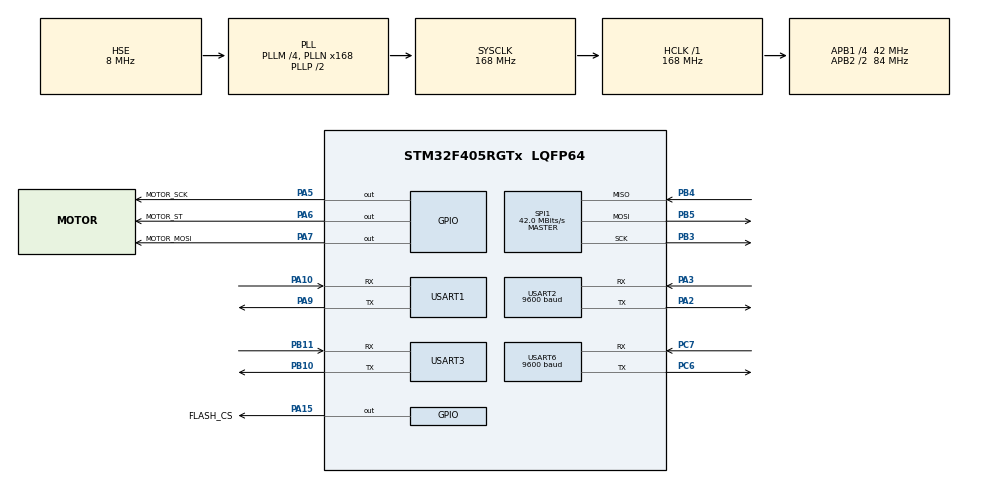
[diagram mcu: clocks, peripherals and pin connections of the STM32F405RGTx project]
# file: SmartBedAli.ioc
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Dma.Request0=USART6_RX
Dma.Request1=USART6_TX
Dma.Request2=USART2_RX
Dma.Request3=USART2_TX
Dma.USART2_RX.2.Direction=DMA_PERIPH_TO_MEMORY
Dma.USART2_RX.2.FIFOMode=DMA_FIFOMODE_DISABLE
Dma.USART2_RX.2.Instance=DMA1_Stream5
Dma.USART2_RX.2.MemDataAlignment=DMA_MDATAALIGN_BYTE
Dma.USART2_RX.2.MemInc=DMA_MINC_ENABLE
Dma.USART2_RX.2.Mode=DMA_CIRCULAR
Dma.USART2_RX.2.PeriphDataAlignment=DMA_PDATAALIGN_BYTE
Dma.USART2_RX.2.PeriphInc=DMA_PINC_DISABLE
Dma.USART2_RX.2.Priority=DMA_PRIORITY_LOW
Dma.USART2_TX.3.Direction=DMA_MEMORY_TO_PERIPH
Dma.USART2_TX.3.FIFOMode=DMA_FIFOMODE_DISABLE
Dma.USART2_TX.3.Instance=DMA1_Stream6
Dma.USART2_TX.3.MemDataAlignment=DMA_MDATAALIGN_BYTE
Dma.USART2_TX.3.MemInc=DMA_MINC_ENABLE
Dma.USART2_TX.3.Mode=DMA_NORMAL
Dma.USART2_TX.3.PeriphDataAlignment=DMA_PDATAALIGN_BYTE
Dma.USART2_TX.3.PeriphInc=DMA_PINC_DISABLE
Dma.USART2_TX.3.Priority=DMA_PRIORITY_LOW
Dma.USART6_RX.0.Direction=DMA_PERIPH_TO_MEMORY
Dma.USART6_RX.0.FIFOMode=DMA_FIFOMODE_DISABLE
Dma.USART6_RX.0.Instance=DMA2_Stream1
Dma.USART6_RX.0.MemDataAlignment=DMA_MDATAALIGN_BYTE
Dma.USART6_RX.0.MemInc=DMA_MINC_ENABLE
Dma.USART6_RX.0.Mode=DMA_CIRCULAR
Dma.USART6_RX.0.PeriphDataAlignment=DMA_PDATAALIGN_BYTE
Dma.USART6_RX.0.PeriphInc=DMA_PINC_DISABLE
Dma.USART6_RX.0.Priority=DMA_PRIORITY_LOW
Dma.USART6_TX.1.Direction=DMA_MEMORY_TO_PERIPH
Dma.USART6_TX.1.FIFOMode=DMA_FIFOMODE_DISABLE
Dma.USART6_TX.1.Instance=DMA2_Stream6
Dma.USART6_TX.1.MemDataAlignment=DMA_MDATAALIGN_BYTE
Dma.USART6_TX.1.MemInc=DMA_MINC_ENABLE
Dma.USART6_TX.1.Mode=DMA_NORMAL
Dma.USART6_TX.1.PeriphDataAlignment=DMA_PDATAALIGN_BYTE
Dma.USART6_TX.1.PeriphInc=DMA_PINC_DISABLE
Dma.USART6_TX.1.Priority=DMA_PRIORITY_LOW
FREERTOS.INCLUDE_eTaskGetState=1
FREERTOS.INCLUDE_pcTaskGetTaskName=1
FREERTOS.INCLUDE_uxTaskGetStackHighWaterMark=1
FREERTOS.INCLUDE_vTaskCleanUpResources=1
FREERTOS.INCLUDE_vTaskDelayUntil=1
FREERTOS.INCLUDE_xQueueGetMutexHolder=1
FREERTOS.INCLUDE_xSemaphoreGetMutexHolder=1
FREERTOS.INCLUDE_xTaskAbortDelay=1
FREERTOS.INCLUDE_xTaskGetCurrentTaskHandle=1
FREERTOS.INCLUDE_xTaskGetHandle=1
FREERTOS.MEMORY_ALLOCATION=0
FREERTOS.Tasks01=reportTask,2,1024,StartReportTask,Default,NULL,Dynamic,NULL,NULL;bedTask,2,1024,StartBedTask,Default,NULL,Dynamic,NULL,NULL
FREERTOS.configUSE_COUNTING_SEMAPHORES=1
Mcu.Family=STM32F4
Mcu.Name=STM32F405RGTx
Mcu.Package=LQFP64
NVIC.DMA1_Stream5_IRQn=true\:5\:0\:false\:false\:true\:true\:false\:true
NVIC.DMA1_Stream6_IRQn=true\:5\:0\:false\:false\:true\:true\:false\:true
NVIC.DMA2_Stream1_IRQn=true\:5\:0\:true\:false\:true\:true\:false\:true
NVIC.DMA2_Stream6_IRQn=true\:5\:0\:true\:false\:true\:true\:false\:true
NVIC.PriorityGroup=NVIC_PRIORITYGROUP_4
NVIC.TIM1_UP_TIM10_IRQn=true\:0\:0\:false\:false\:true\:false\:false\:true
NVIC.TimeBase=TIM1_UP_TIM10_IRQn
NVIC.TimeBaseIP=TIM1
NVIC.USART6_IRQn=true\:5\:0\:true\:false\:true\:true\:true\:true
PA10.Mode=Asynchronous
PA10.Signal=USART1_RX
PA13.Mode=Serial_Wire
PA13.Signal=SYS_JTMS-SWDIO
PA14.Mode=Serial_Wire
PA14.Signal=SYS_JTCK-SWCLK
PA15.GPIO_Label=FLASH_CS
PA15.Signal=GPIO_Output
PA2.Mode=Asynchronous
PA2.Signal=USART2_TX
PA3.Mode=Asynchronous
PA3.Signal=USART2_RX
PA5.GPIO_Label=MOTOR_SCK
PA5.GPIO_Speed=GPIO_SPEED_FREQ_MEDIUM
PA5.Signal=GPIO_Output
PA6.GPIO_Label=MOTOR_ST
PA6.Signal=GPIO_Output
PA7.GPIO_Label=MOTOR_MOSI
PA7.GPIO_Speed=GPIO_SPEED_FREQ_MEDIUM
PA7.Signal=GPIO_Output
PA9.Mode=Asynchronous
PA9.Signal=USART1_TX
PB10.Mode=Asynchronous
PB10.Signal=USART3_TX
PB11.Mode=Asynchronous
PB11.Signal=USART3_RX
PB3.Mode=Full_Duplex_Master
PB3.Signal=SPI1_SCK
PB4.Mode=Full_Duplex_Master
PB4.Signal=SPI1_MISO
PB5.Mode=Full_Duplex_Master
PB5.Signal=SPI1_MOSI
PC14-OSC32_IN.Mode=LSE-External-Oscillator
PC14-OSC32_IN.Signal=RCC_OSC32_IN
PC15-OSC32_OUT.Mode=LSE-External-Oscillator
PC15-OSC32_OUT.Signal=RCC_OSC32_OUT
PC6.GPIO_Speed=GPIO_SPEED_FREQ_VERY_HIGH
PC6.Mode=Asynchronous
PC6.Signal=USART6_TX
PC7.GPIO_Speed=GPIO_SPEED_FREQ_VERY_HIGH
PC7.Mode=Asynchronous
PC7.Signal=USART6_RX
PH0-OSC_IN.Mode=HSE-External-Oscillator
PH0-OSC_IN.Signal=RCC_OSC_IN
PH1-OSC_OUT.Mode=HSE-External-Oscillator
PH1-OSC_OUT.Signal=RCC_OSC_OUT
ProjectManager.HeapSize=0x800
ProjectManager.StackSize=0x1000
ProjectManager.TargetToolchain=MDK-ARM V5
RCC.48MHZClocksFreq_Value=84000000
RCC.AHBFreq_Value=168000000
RCC.APB1CLKDivider=RCC_HCLK_DIV4
RCC.APB1Freq_Value=42000000
RCC.APB1TimFreq_Value=84000000
RCC.APB2CLKDivider=RCC_HCLK_DIV2
RCC.APB2Freq_Value=84000000
RCC.APB2TimFreq_Value=168000000
RCC.CortexFreq_Value=168000000
RCC.HCLKFreq_Value=168000000
RCC.HSE_VALUE=8000000
RCC.HSI_VALUE=16000000
RCC.PLLM=4
RCC.PLLN=168
RCC.PLLSourceVirtual=RCC_PLLSOURCE_HSE
RCC.SYSCLKFreq_VALUE=168000000
RCC.SYSCLKSource=RCC_SYSCLKSOURCE_PLLCLK
RCC.VCOOutputFreq_Value=336000000
SPI1.CalculateBaudRate=42.0 MBits/s
SPI1.Direction=SPI_DIRECTION_2LINES
SPI1.Mode=SPI_MODE_MASTER
SPI1.VirtualType=VM_MASTER
USART1.VirtualMode=VM_ASYNC
USART2.BaudRate=9600
USART2.VirtualMode=VM_ASYNC
USART3.VirtualMode=VM_ASYNC
USART6.BaudRate=9600
USART6.VirtualMode=VM_ASYNC
VP_FREERTOS_VS_CMSIS_V1.Mode=CMSIS_V1
VP_SYS_VS_tim1.Mode=TIM1
board=custom

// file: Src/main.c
/* USER CODE BEGIN Header */
/**
  ******************************************************************************
  * @file           : main.c
  * @brief          : Main program body
  ******************************************************************************
  * @attention
  *
  * <h2><center>&copy; Copyright (c) 2019 STMicroelectronics.
  * All rights reserved.</center></h2>
  *
  * This software component is licensed by ST under Ultimate Liberty license
  * SLA0044, the "License"; You may not use this file except in compliance with
  * the License. You may obtain a copy of the License at:
  *                             www.st.com/SLA0044
  *
  ******************************************************************************
  */
/* USER CODE END Header */

#include "main.h"
#include "cmsis_os.h"
#include "dma.h"
#include "spi.h"
#include "usart.h"
#include "gpio.h"

/* USER CODE BEGIN Includes */
#include <string.h>
#include <jansson.h>
#include "at_api.h"
#include "smartbed.h"
#include "emw3080.h"
#include "ble.h"
#include "w25qxx.h"
#include "ld3320.h"
/* USER CODE END Includes */

void SystemClock_Config(void);
void MX_FREERTOS_Init(void);

int main(void)
{

  /* MCU Configuration--------------------------------------------------------*/

  /* Reset of all peripherals, Initializes the Flash interface and the Systick. */
  HAL_Init();

  /* Configure the system clock */
  SystemClock_Config();

  /* Initialize all configured peripherals */
  MX_GPIO_Init();
  MX_DMA_Init();
  MX_USART3_UART_Init();
  MX_USART6_UART_Init();
  MX_SPI1_Init();
  MX_USART1_UART_Init();
  MX_USART2_UART_Init();
  /* USER CODE BEGIN 2 */
	W25qxx_Init();
	smartbed_init();
	ble_init();
	ld3320_init();
	IOT_ATM_Init();
	emw3080_init();
  /* USER CODE END 2 */

  /* Call init function for freertos objects (in freertos.c) */
  MX_FREERTOS_Init();
  /* Start scheduler */
  osKernelStart();

  /* We should never get here as control is now taken by the scheduler */
  /* Infinite loop */
  while (1)
  {

    /* USER CODE BEGIN 3 */
		HAL_Delay(1000);
  }
  /* USER CODE END 3 */
}

void SystemClock_Config(void)
{
  RCC_OscInitTypeDef RCC_OscInitStruct = {0};
  RCC_ClkInitTypeDef RCC_ClkInitStruct = {0};

  /** Configure the main internal regulator output voltage
  */
  __HAL_RCC_PWR_CLK_ENABLE();
  __HAL_PWR_VOLTAGESCALING_CONFIG(PWR_REGULATOR_VOLTAGE_SCALE1);
  /** Initializes the CPU, AHB and APB busses clocks
  */
  RCC_OscInitStruct.OscillatorType = RCC_OSCILLATORTYPE_HSE;
  RCC_OscInitStruct.HSEState = RCC_HSE_ON;
  RCC_OscInitStruct.PLL.PLLState = RCC_PLL_ON;
  RCC_OscInitStruct.PLL.PLLSource = RCC_PLLSOURCE_HSE;
  RCC_OscInitStruct.PLL.PLLM = 4;
  RCC_OscInitStruct.PLL.PLLN = 168;
  RCC_OscInitStruct.PLL.PLLP = RCC_PLLP_DIV2;
  RCC_OscInitStruct.PLL.PLLQ = 4;
  if (HAL_RCC_OscConfig(&RCC_OscInitStruct) != HAL_OK)
  {
    Error_Handler();
  }
  /** Initializes the CPU, AHB and APB busses clocks
  */
  RCC_ClkInitStruct.ClockType = RCC_CLOCKTYPE_HCLK|RCC_CLOCKTYPE_SYSCLK
                              |RCC_CLOCKTYPE_PCLK1|RCC_CLOCKTYPE_PCLK2;
  RCC_ClkInitStruct.SYSCLKSource = RCC_SYSCLKSOURCE_PLLCLK;
  RCC_ClkInitStruct.AHBCLKDivider = RCC_SYSCLK_DIV1;
  RCC_ClkInitStruct.APB1CLKDivider = RCC_HCLK_DIV4;
  RCC_ClkInitStruct.APB2CLKDivider = RCC_HCLK_DIV2;

  if (HAL_RCC_ClockConfig(&RCC_ClkInitStruct, FLASH_LATENCY_5) != HAL_OK)
  {
    Error_Handler();
  }
}

/* USER CODE BEGIN 4 */
void HAL_UART_RxCpltCallback(UART_HandleTypeDef *huart)
{
	if(huart == &huart6 && huart6.gState == HAL_UART_STATE_READY)
	{
		ble_receive_dma_callback();
	}

	if(huart == &huart2 && huart2.gState == HAL_UART_STATE_READY)
	{
		ld3320_receive_dma_callback();
	}
}
/* USER CODE END 4 */

 /**
  * @brief  Period elapsed callback in non blocking mode
  * @note   This function is called  when TIM1 interrupt took place, inside
  * HAL_TIM_IRQHandler(). It makes a direct call to HAL_IncTick() to increment
  * a global variable "uwTick" used as application time base.
  * @param  htim : TIM handle
  * @retval None
  */
void HAL_TIM_PeriodElapsedCallback(TIM_HandleTypeDef *htim)
{
  if (htim->Instance == TIM1) {
    HAL_IncTick();
  }
  /* USER CODE BEGIN Callback 1 */
	//if (htim->Instance == TIM1 && HAL_GetTick()%100 == 0) {
		//RunBedAction();
  //}
  /* USER CODE END Callback 1 */
}

void Error_Handler(void)
{
}

/************************ (C) COPYRIGHT STMicroelectronics *****END OF FILE****/

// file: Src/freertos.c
/* USER CODE BEGIN Header */
/**
  ******************************************************************************
  * File Name          : freertos.c
  * Description        : Code for freertos applications
  ******************************************************************************
  * @attention
  *
  * <h2><center>&copy; Copyright (c) 2019 STMicroelectronics.
  * All rights reserved.</center></h2>
  *
  * This software component is licensed by ST under Ultimate Liberty license
  * SLA0044, the "License"; You may not use this file except in compliance with
  * the License. You may obtain a copy of the License at:
  *                             www.st.com/SLA0044
  *
  ******************************************************************************
  */
/* USER CODE END Header */

#include "FreeRTOS.h"
#include "task.h"
#include "main.h"
#include "cmsis_os.h"

/* USER CODE BEGIN Includes */
#include "emw3080.h"
#include "ble.h"
#include "smartbed.h"
/* USER CODE END Includes */

osThreadId reportTaskHandle;
osThreadId bedTaskHandle;

void StartReportTask(void const * argument);
void StartBedTask(void const * argument);

void MX_FREERTOS_Init(void); /* (MISRA C 2004 rule 8.1) */

void MX_FREERTOS_Init(void) {

  /* Create the thread(s) */
  /* definition and creation of reportTask */
  osThreadDef(reportTask, StartReportTask, osPriorityHigh, 0, 1024);
  reportTaskHandle = osThreadCreate(osThread(reportTask), NULL);

  /* definition and creation of bedTask */
  osThreadDef(bedTask, StartBedTask, osPriorityHigh, 0, 1024);
  bedTaskHandle = osThreadCreate(osThread(bedTask), NULL);

}

void StartReportTask(void const * argument)
{
  /* USER CODE BEGIN StartReportTask */
  /* Infinite loop */

	attr_report_task();
  /* USER CODE END StartReportTask */
}

void StartBedTask(void const * argument)
{
  /* USER CODE BEGIN StartBedTask */
  /* Infinite loop */
  bed_action_task();
  /* USER CODE END StartBedTask */
}

/************************ (C) COPYRIGHT STMicroelectronics *****END OF FILE****/
